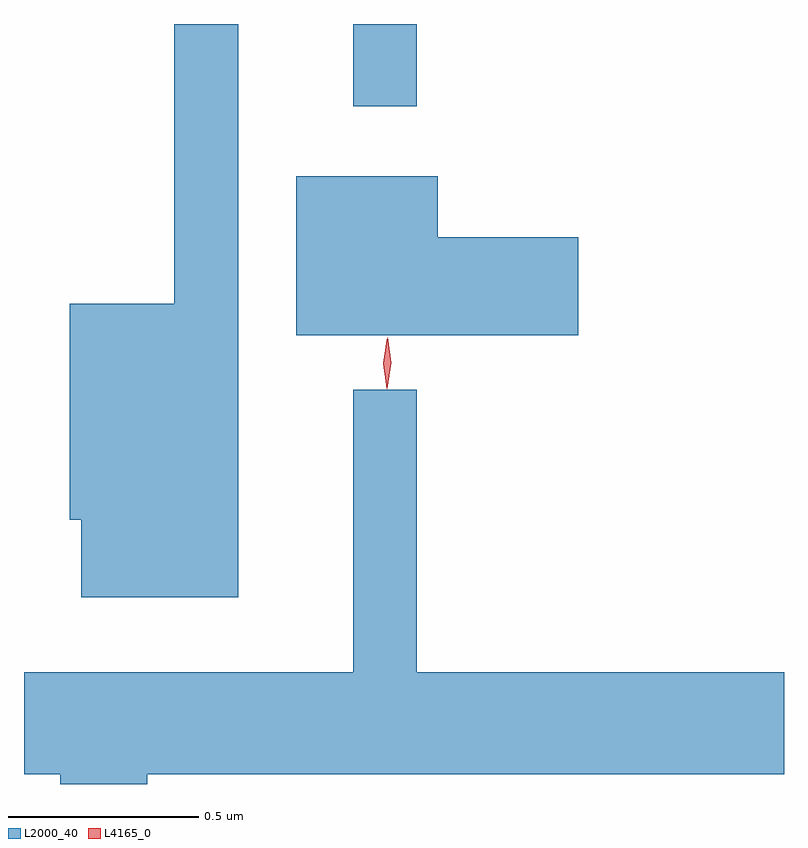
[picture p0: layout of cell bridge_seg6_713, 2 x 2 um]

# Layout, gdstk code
import gdstk
lib = gdstk.Library(unit=1e-6, precision=1e-09)
def R(c, l, rs):  # rectangles x0, y0, x1, y1
    for r in rs: c.add(gdstk.rectangle(r[:2], r[2:], *l))
def P(c, l, *ps):  # polygons
    for p in ps: c.add(gdstk.Polygon(p, *l))
L2000_40 = (2000, 40)
L4165_0 = (4165, 0)

bridge_seg6_713 = lib.new_cell('bridge_seg6_713')
R(bridge_seg6_713, L2000_40, [(385.101,1573.993,385.269,1574.21)])
P(bridge_seg6_713, L2000_40, [(384.799,1574.21),(384.631,1574.21),(384.631,1573.474),(384.356,1573.474),(384.356,1572.906),(384.386,1572.906),(384.386,1572.701),(384.799,1572.701)],
  [(385.694,1573.649),(385.324,1573.649),(385.324,1573.809),(384.951,1573.809),(384.951,1573.391),(385.694,1573.391)],
  [(384.559,1572.236),(386.235,1572.236),(386.235,1572.504),(385.269,1572.504),(385.269,1573.248),(385.101,1573.248),(385.101,1572.504),(384.235,1572.504),(384.235,1572.236),(384.331,1572.236),(384.331,1572.21),(384.559,1572.21)])
P(bridge_seg6_713, L4165_0, [(385.19,1573.25),(385.19,1573.25),(385.181,1573.318),(385.192,1573.386),(385.192,1573.386),(385.192,1573.386),(385.201,1573.318),(385.191,1573.25)],
  [(385.19,1573.253),(385.19,1573.253),(385.18,1573.316),(385.19,1573.379),(385.19,1573.38),(385.191,1573.379),(385.2,1573.316),(385.191,1573.253)])

lib.write_gds('bridge_seg6_713.gds')
